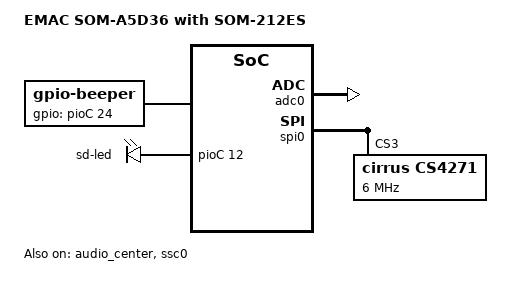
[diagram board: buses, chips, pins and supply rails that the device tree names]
// SPDX-License-Identifier: GPL-2.0-or-later
/*
 * som-a5d36-212es.dts - Device Tree file for the SOM-A5D36 w/ a 212es EMAC Carrier.
 *
 * Copyright (C) 2023 EMAC Inc.
 *
 */

/dts-v1/;
#include "som-a5d36-2xx.dts"

/ {
	model = "EMAC SOM-A5D36 with SOM-212ES";
	
	beeper {
		compatible = "gpio-beeper";
		gpios = <&pioC 24 GPIO_ACTIVE_HIGH>;
		status = "okay";
	};
	leds {
		sd-led {
			label = "sd-led";
			gpios = <&pioC 12 GPIO_ACTIVE_HIGH>;
			default-state = "disk-activity";
			trigger-sources = <&mmc1>;
		};
	};
};

&lcd_backlight {
	power-supply = <&ldo_3v3_vcc>;
	enable-gpios = <&pioD 5 GPIO_ACTIVE_HIGH>;
};

&audio_center {
    status = "okay";
	simple-audio-card,name = "cs4271";
    simple-audio-card,bitclock-master = <&codec_master>;
	simple-audio-card,frame-master = <&codec_master>;
    codec_master: simple-audio-card,codec {
        sound-dai = <&cs4271>;
        clocks = <&audio_mclk>;
        frame-master;
		bitclock-master;
    };
};

&ssc0 {
    status = "okay";
};

&adc0 {
	status = "okay";
};

&spi0 {
	cs4271: cs4271@3 {
        #sound-dai-cells = <0>;
		compatible = "cirrus,cs4271";
		reg = <0x3>;
		spi-max-frequency = <6000000>;
        status = "okay";
	};
};
